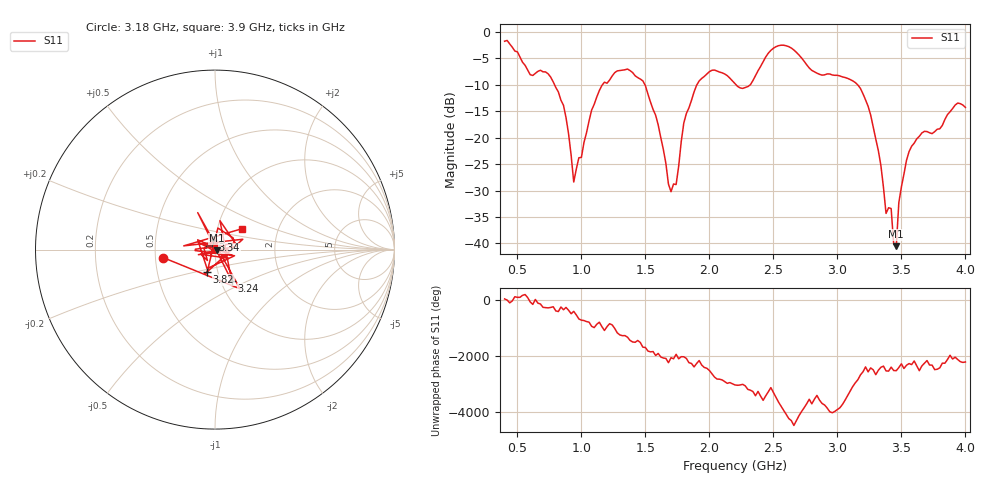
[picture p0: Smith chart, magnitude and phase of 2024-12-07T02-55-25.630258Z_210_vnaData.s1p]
!Created with skrf (http://scikit-rf.org).
# Hz S RI R 50.0
!freq ReS11 ImS11
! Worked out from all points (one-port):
!   181 points, 400 MHz to 4 GHz, reference 50 ohm
!   lowest |S11| = -40.5 dB at 3.46 GHz (marker M1), VSWR 1.02, Z = 50.9 - j0.308 ohm
!   |S11| at or under -10 dB: 789.9 MHz to 1.165 GHz (374.8 MHz wide, 38.4 % of centre); 1.496 GHz to 1.902 GHz (406.3 MHz wide, 23.9 % of centre); 3.158 GHz to end of sweep (the widest 3 of 4)
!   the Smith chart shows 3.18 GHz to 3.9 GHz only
!   S11 on the Smith chart (normalised r, x): 3.18 GHz: 0.55, -0.05; 3.24 GHz: 1.13, -0.41; 3.34 GHz: 0.97, +0.10; 3.82 GHz: 0.89, -0.22; 3.9 GHz: 1.31, +0.31
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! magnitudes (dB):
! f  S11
! 400 MHz  -1.8
! 600 MHz  -8.1
! 740 MHz  -7.9
! 860 MHz  -13.9
! 940 MHz  -28.4
! 1.14 GHz  -11.1
! 1.3 GHz  -7.3
! 1.5 GHz  -10.2
! 1.6 GHz  -17.6
! 1.7 GHz  -30.2
! 1.76 GHz  -25.4
! 1.8 GHz  -17.2
! 1.92 GHz  -9.3
! 2.2 GHz  -9.8
! 2.66 GHz  -3.4
! 3.1 GHz  -9.0
! 3.18 GHz  -10.7
! 3.24 GHz  -14.1
! 3.34 GHz  -25.3
! 3.38 GHz  -34.3
! 3.42 GHz  -33.4
! 3.44 GHz  -40.2
! 3.46 GHz  -40.5
! 3.48 GHz  -32.3
! 3.56 GHz  -22.6
! 3.82 GHz  -17.7
! 3.9 GHz  -14.5
! 4 GHz  -14.3
